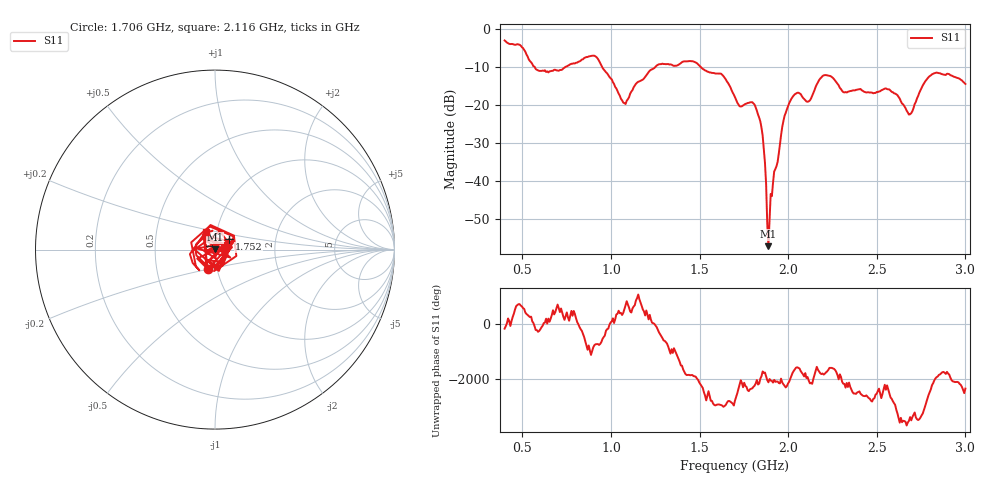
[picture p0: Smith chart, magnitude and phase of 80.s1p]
!Created with skrf (http://scikit-rf.org).
# Hz S RI R 50.0
!freq ReS11 ImS11
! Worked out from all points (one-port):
!   401 points, 400 MHz to 3 GHz, reference 50 ohm
!   lowest |S11| = -57.3 dB at 1.889 GHz (marker M1), VSWR 1.00, Z = 50.1 + j0.112 ohm
!   |S11| at or under -10 dB: 569.9 MHz to 742.8 MHz (172.9 MHz wide, 26.3 % of centre); 950.3 MHz to 1.25 GHz (300 MHz wide, 27.3 % of centre); 1.507 GHz to end of sweep
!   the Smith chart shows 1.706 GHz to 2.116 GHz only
!   S11 on the Smith chart (normalised r, x): 1.706 GHz: 0.90, -0.20; 1.752 GHz: 1.17, +0.14; 2.116 GHz: 0.89, +0.18
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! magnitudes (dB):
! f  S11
! 400 MHz  -3.0
! 588.5 MHz  -10.9
! 725 MHz  -10.7
! 907 MHz  -7.0
! 1.05 GHz  -17.6
! 1.083 GHz  -19.8
! 1.264 GHz  -9.4
! 1.375 GHz  -9.6
! 1.622 GHz  -11.8
! 1.7 GHz  -18.0
! 1.706 GHz  -18.7
! 1.752 GHz  -20.0
! 1.804 GHz  -19.6
! 1.843 GHz  -24.4
! 1.863 GHz  -31.6
! 1.875 GHz  -40.8
! 1.889 GHz  -57.3
! 1.895 GHz  -50.6
! 1.915 GHz  -40.6
! 1.973 GHz  -24.3
! 2.025 GHz  -17.9
! 2.116 GHz  -19.1
! 2.207 GHz  -12.1
! 2.35 GHz  -16.3
! 2.564 GHz  -15.9
! 2.675 GHz  -22.0
! 2.818 GHz  -11.8
! 3 GHz  -14.5
